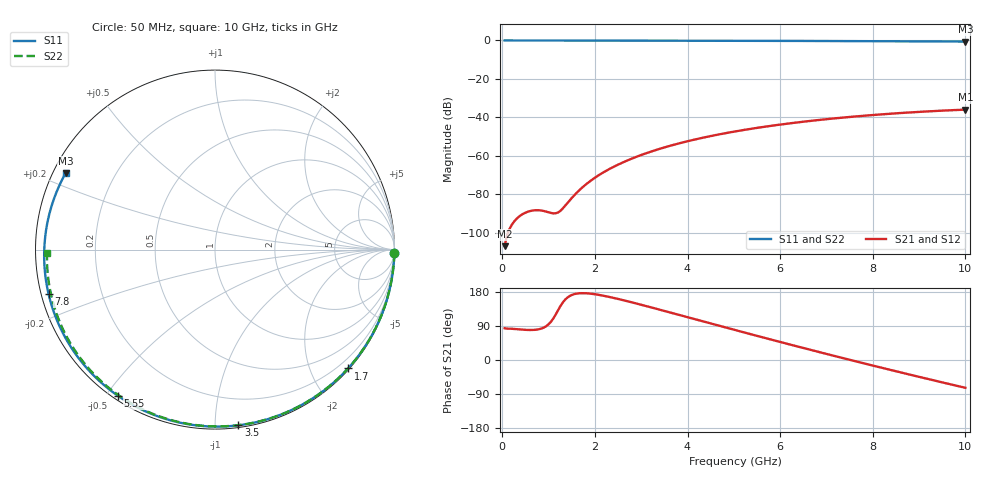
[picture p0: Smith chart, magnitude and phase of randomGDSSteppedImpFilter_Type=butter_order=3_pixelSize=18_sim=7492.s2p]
! freq	dB(S11)	phase(S11)	dB(S12)	phase(S12)
!  dB(S21)	phase(S21)	dB(S22)	phase(S22)
!S-par simulation data
#  GHz  S  DB  R 50
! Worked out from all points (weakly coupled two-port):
!   200 points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, 50 MHz to 10 GHz, reference 50 ohm
!   highest |S21| = -36.00 dB at 10 GHz (marker M1); lowest = -107.1 dB at 50 MHz (marker M2)
!   lowest |S11| = -0.6 dB at 10 GHz (marker M3), VSWR 29.80, Z = 1.78 + j12 ohm
!   |S11| at or under -10 dB: nowhere
!   |S22| runs from -0.6 to 0.0 dB; largest |S21 - S12| = 0
!   S11 on the Smith chart (normalised r, x): 50 MHz: 2, -94; 1.7 GHz: 0.02, -2.62; 3.5 GHz: 0.01, -1.14; 5.55 GHz: 0.01, -0.54; 7.8 GHz: 0.02, -0.13; 10 GHz: 0.04, +0.24
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0.05  -0.00 -1.2  -107.05 83.9  -107.05 83.9  -0.00 -1.0
0.75  -0.02 -18.7  -88.33 80.3  -88.33 80.3  -0.02 -15.6
1.15  -0.04 -28.5  -89.95 119.3  -89.95 119.3  -0.03 -23.8
1.55  -0.05 -38.2  -80.67 173.7  -80.67 173.7  -0.04 -32.0
1.6  -0.05 -39.4  -79.42 175.1  -79.42 175.1  -0.04 -33.0
1.7  -0.05 -41.8  -77.11 176.3  -77.11 176.3  -0.04 -35.0
1.75  -0.05 -43.0  -76.04 176.4  -76.04 176.4  -0.05 -36.0
2.05  -0.06 -50.0  -70.64 172.6  -70.64 172.6  -0.05 -42.0
2.45  -0.08 -59.2  -65.20 162.6  -65.20 162.6  -0.06 -49.8
2.9  -0.09 -69.4  -60.51 148.9  -60.51 148.9  -0.08 -58.5
3.4  -0.10 -80.3  -56.39 132.8  -56.39 132.8  -0.09 -67.9
3.5  -0.11 -82.4  -55.66 129.5  -55.66 129.5  -0.09 -69.8
4.25  -0.13 -98.0  -51.04 104.7  -51.04 104.7  -0.12 -83.4
5.05  -0.17 -113.9  -47.25 78.3  -47.25 78.3  -0.15 -97.4
5.55  -0.20 -123.5  -45.31 62.1  -45.31 62.1  -0.17 -105.9
6.15  -0.23 -134.8  -43.31 42.8  -43.31 42.8  -0.21 -115.9
6.7  -0.27 -145.0  -41.74 25.4  -41.74 25.4  -0.24 -124.9
7.25  -0.31 -155.0  -40.37 8.3  -40.37 8.3  -0.28 -133.8
7.8  -0.36 -165.1  -39.19 -8.6  -39.19 -8.6  -0.33 -142.6
8.35  -0.41 -175.3  -38.18 -25.2  -38.18 -25.2  -0.38 -151.5
9.2  -0.50 168.6  -36.90 -50.4  -36.90 -50.4  -0.47 -165.3
10  -0.58 152.9  -36.00 -73.4  -36.00 -73.4  -0.57 -178.8
